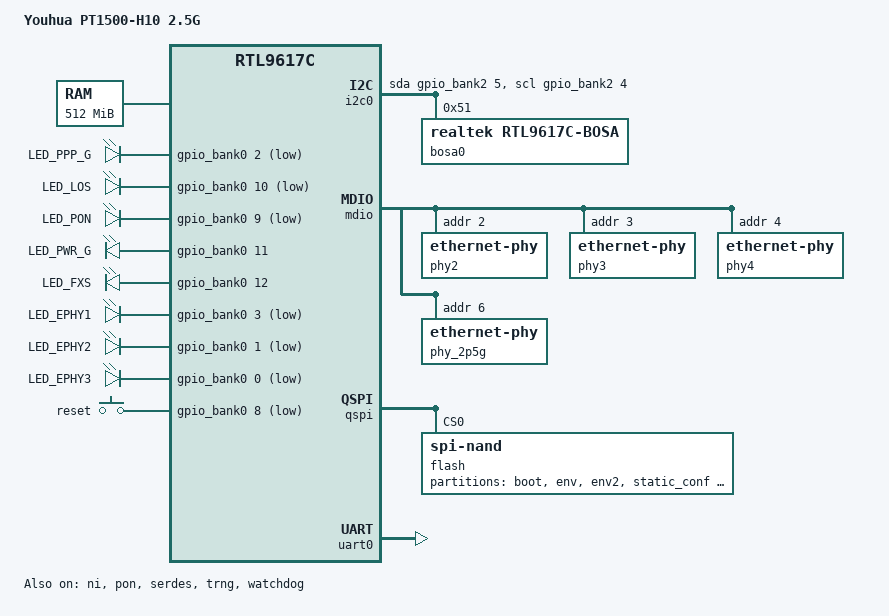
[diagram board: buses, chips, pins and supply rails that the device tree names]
// SPDX-License-Identifier: GPL-2.0-only

/dts-v1/;

#include "rtk-taurus.dtsi"
#include <dt-bindings/gpio/gpio.h>
#include <dt-bindings/input/linux-event-codes.h>
#include <dt-bindings/leds/common.h>

/ {
	model = "Youhua PT1500-H10 2.5G";
	compatible = "youhua,pt1500-h10-2p5g", "realtek,rtl9617c";

	aliases {
		serial0 = &uart0;
		i2c0 = &i2c0;
		led-boot = &led_power;
		led-failsafe = &led_power;
		led-running = &led_power;
		led-upgrade = &led_power;
	};

	chosen {
		stdout-path = "serial0:115200n8";
		bootargs = "earlycon console=ttyS0,115200n8 loglevel=7 clk_ignore_unused";
		rootdisk = <&ubi_rootdisk>;
	};

	memory@0 {
		device_type = "memory";
		reg = <0 0 0 0x20000000>;
	};

	reserved-memory {
		#address-cells = <2>;
		#size-cells = <2>;
		ranges;

		lan_deepq: lan-deepq@c000000 {
			reg = <0 0x0c000000 0 0x01500000>;
		};
		tz-smc@eeff000 {
			reg = <0 0x0eeff000 0 0x1000>;
			no-map;
		};
		ramoops@ff80000 {
			compatible = "ramoops";
			reg = <0 0x0ff80000 0 0x40000>;
			record-size = <0x10000>;
			console-size = <0x10000>;
			pmsg-size = <0x10000>;
		};
		tz@ffc0000 {
			reg = <0 0x0ffc0000 0 0x40000>;
		};
	};

	leds {
		compatible = "gpio-leds";

		internet {
			label = "LED_PPP_G";
			gpios = <&gpio_bank0 2 GPIO_ACTIVE_LOW>;
			default-state = "off";
		};
		los {
			label = "LED_LOS";
			gpios = <&gpio_bank0 10 GPIO_ACTIVE_LOW>;
		};
		pon {
			label = "LED_PON";
			gpios = <&gpio_bank0 9 GPIO_ACTIVE_LOW>;
		};
		led_power: power {
			label = "LED_PWR_G";
			gpios = <&gpio_bank0 11 GPIO_ACTIVE_HIGH>;
			default-state = "on";
		};
		phone {
			label = "LED_FXS";
			gpios = <&gpio_bank0 12 GPIO_ACTIVE_HIGH>;
		};
		lan1 {
			label = "LED_EPHY1";
			gpios = <&gpio_bank0 3 GPIO_ACTIVE_LOW>;
		};
		lan2 {
			label = "LED_EPHY2";
			gpios = <&gpio_bank0 1 GPIO_ACTIVE_LOW>;
		};
		lan3 {
			label = "LED_EPHY3";
			gpios = <&gpio_bank0 0 GPIO_ACTIVE_LOW>;
		};
	};

	gpio-keys {
		compatible = "gpio-keys";

		reset {
			label = "reset";
			linux,code = <KEY_RESTART>;
			gpios = <&gpio_bank0 8 GPIO_ACTIVE_LOW>;
			debounce-interval = <60>;
		};
	};
};

&gpio0 {
	status = "okay";
};

&i2c0 {
	status = "okay";
	scl-gpios = <&gpio_bank2 4 GPIO_ACTIVE_HIGH>;
	sda-gpios = <&gpio_bank2 5 GPIO_ACTIVE_HIGH>;

	bosa0: optical-front-end@51 {
		compatible = "realtek,rtl9617c-bosa";
		reg = <0x51>;
	};
};

&mdio {
	status = "okay";

	phy2: ethernet-phy@2 {
		reg = <2>;
	};
	phy3: ethernet-phy@3 {
		reg = <3>;
	};
	phy4: ethernet-phy@4 {
		reg = <4>;
	};

	phy_2p5g: ethernet-phy@6 {
		reg = <6>;
		realtek,hisgmii;
		realtek,serdes-option-mode = <1>;

		leds {
			#address-cells = <1>;
			#size-cells = <0>;

			led@0 {
				reg = <0>;
				color = <LED_COLOR_ID_BLUE>;
				function = LED_FUNCTION_LAN;
				active-low;
			};
		};
	};
};

&ni {
	memory-region = <&lan_deepq>;
	nvmem-cells = <&base_mac 0>;
	nvmem-cell-names = "mac-address";
	status = "okay";

	ethernet-ports {
		port@1 {
			reg = <1>;
			label = "lan2";
			nvmem-cells = <&base_mac 2>;
			nvmem-cell-names = "mac-address";
			phy-mode = "internal";
			phy-handle = <&phy2>;
		};
		port@2 {
			reg = <2>;
			label = "lan3";
			nvmem-cells = <&base_mac 3>;
			nvmem-cell-names = "mac-address";
			phy-mode = "internal";
			phy-handle = <&phy3>;
		};
		port@3 {
			reg = <3>;
			label = "lan4";
			nvmem-cells = <&base_mac 4>;
			nvmem-cell-names = "mac-address";
			phy-mode = "internal";
			phy-handle = <&phy4>;
		};
		port@6 {
			reg = <6>;
			label = "lan1";
			nvmem-cells = <&base_mac 1>;
			nvmem-cell-names = "mac-address";
			phy-mode = "2500base-x";
			phy-handle = <&phy_2p5g>;
			phys = <&serdes>;
		};
	};
};

&pon {
	status = "okay";
	nvmem-cells = <&epon_mac 0>, <&base_mac 0>, <&pon_sn>;
	nvmem-cell-names = "mac-address", "base-mac", "pon-serial";
	realtek,optical-front-end = <&bosa0>;
	tx-disable-gpios = <&gpio_bank0 15 GPIO_ACTIVE_HIGH>;
	realtek,burst-polarity = <0>;
	realtek,los-invert = <0>;
	realtek,uni-ports = /bits/ 8 <3 2 1 0>;
};

&qspi {
	status = "okay";

	flash@0 {
		compatible = "spi-nand";
		reg = <0>;
		spi-tx-bus-width = <1>;
		spi-rx-bus-width = <4>;

		partitions {
			compatible = "fixed-partitions";
			#address-cells = <1>;
			#size-cells = <1>;

			partition@0 {
				label = "boot";
				reg = <0x0 0x200000>;
				read-only;
			};
			partition@280000 {
				label = "env";
				reg = <0x280000 0x40000>;
			};
			partition@2c0000 {
				label = "env2";
				reg = <0x2c0000 0x40000>;
			};
			partition@300000 {
				label = "static_conf";
				reg = <0x300000 0x40000>;
			};

			ubi_partition: partition@340000 {
				label = "ubi_device";
				reg = <0x340000 0xf5c0000>;
				compatible = "linux,ubi";

				volumes {
					ubi_rootdisk: ubi-volume-fit {
						volname = "fit";
					};

					ubi_factory: ubi-volume-factory {
						volname = "factory";

						nvmem-layout {
							compatible = "fixed-layout";
							#address-cells = <1>;
							#size-cells = <1>;

							base_mac: mac-address@1000 {
								compatible = "mac-base";
								reg = <0x1000 0x6>;
								#nvmem-cell-cells = <1>;
							};

							mac_count: mac-count@1006 {
								reg = <0x1006 0x4>;
							};

							epon_mac: mac-address@1010 {
								compatible = "mac-base";
								reg = <0x1010 0x6>;
								#nvmem-cell-cells = <1>;
							};

							pon_sn: pon-serial@1020 {
								reg = <0x1020 0x10>;
							};

							device_sn: device-serial@1030 {
								reg = <0x1030 0x20>;
							};
						};
					};
				};
			};
		};
	};
};

&serdes {
	status = "okay";
};

&trng {
	self-test;
	status = "okay";
};

&uart0 {
	status = "okay";
};

&vsfc {
	status = "disabled";
};

&watchdog {
	reset-on-timeout;
	delay-reset = <134>;
	status = "okay";
};
